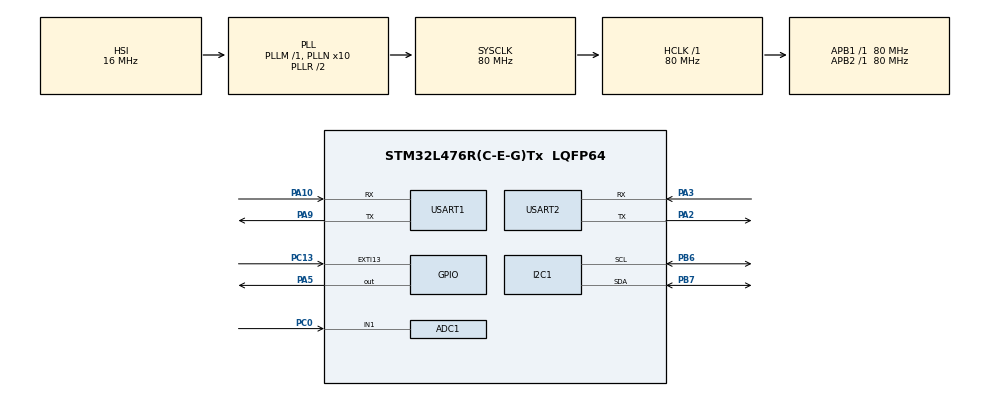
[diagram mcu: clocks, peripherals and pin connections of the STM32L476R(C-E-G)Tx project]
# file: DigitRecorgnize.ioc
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ADC1.Channel-0\#ChannelRegularConversion=ADC_CHANNEL_1
ADC1.ContinuousConvMode=ENABLE
ADC1.NbrOfConversionFlag=1
ADC1.OffsetNumber-0\#ChannelRegularConversion=ADC_OFFSET_NONE
ADC1.Rank-0\#ChannelRegularConversion=1
ADC1.SamplingTime-0\#ChannelRegularConversion=ADC_SAMPLETIME_2CYCLES_5
ADC1.master=1
Mcu.Family=STM32L4
Mcu.Name=STM32L476R(C-E-G)Tx
Mcu.Package=LQFP64
NVIC.I2C1_ER_IRQn=true\:0\:0\:false\:false\:true\:true
NVIC.I2C1_EV_IRQn=true\:0\:0\:false\:false\:true\:true
NVIC.PriorityGroup=NVIC_PRIORITYGROUP_4
NVIC.USART2_IRQn=true\:0\:0\:false\:false\:true\:true
PA10.Mode=Asynchronous
PA10.Signal=USART1_RX
PA13\ (JTMS-SWDIO).Mode=Serial_Wire
PA13\ (JTMS-SWDIO).Signal=SYS_JTMS-SWDIO
PA14\ (JTCK-SWCLK).Mode=Serial_Wire
PA14\ (JTCK-SWCLK).Signal=SYS_JTCK-SWCLK
PA2.GPIO_Mode=GPIO_MODE_AF_PP
PA2.GPIO_ModeDefaultPP=GPIO_MODE_AF_PP
PA2.GPIO_PuPd=GPIO_NOPULL
PA2.GPIO_Speed=GPIO_SPEED_FREQ_VERY_HIGH
PA2.Mode=Asynchronous
PA2.Signal=USART2_TX
PA3.GPIO_Mode=GPIO_MODE_AF_PP
PA3.GPIO_ModeDefaultPP=GPIO_MODE_AF_PP
PA3.GPIO_PuPd=GPIO_NOPULL
PA3.GPIO_Speed=GPIO_SPEED_FREQ_VERY_HIGH
PA3.Mode=Asynchronous
PA3.Signal=USART2_RX
PA5.GPIO_ModeDefaultOutputPP=GPIO_MODE_OUTPUT_PP
PA5.GPIO_PuPd=GPIO_NOPULL
PA5.GPIO_Speed=GPIO_SPEED_FREQ_LOW
PA5.PinState=GPIO_PIN_RESET
PA5.Signal=GPIO_Output
PA9.Mode=Asynchronous
PA9.Signal=USART1_TX
PB3\ (JTDO-TRACESWO).Signal=SYS_JTDO-SWO
PB6.Mode=I2C
PB6.Signal=I2C1_SCL
PB7.Mode=I2C
PB7.Signal=I2C1_SDA
PC0.Signal=ADCx_IN1
PC13.GPIO_ModeDefaultEXTI=GPIO_MODE_IT_RISING
PC13.GPIO_PuPd=GPIO_NOPULL
PC13.Signal=GPXTI13
PC14-OSC32_IN\ (PC14).Mode=LSE-External-Oscillator
PC14-OSC32_IN\ (PC14).Signal=RCC_OSC32_IN
PC15-OSC32_OUT\ (PC15).Mode=LSE-External-Oscillator
PC15-OSC32_OUT\ (PC15).Signal=RCC_OSC32_OUT
PH0-OSC_IN\ (PH0).Signal=RCC_OSC_IN
PH1-OSC_OUT\ (PH1).Signal=RCC_OSC_OUT
ProjectManager.HeapSize=0x200
ProjectManager.StackSize=0x400
ProjectManager.TargetToolchain=MDK-ARM V5
RCC.ADCFreq_Value=64000000
RCC.AHBFreq_Value=80000000
RCC.APB1Freq_Value=80000000
RCC.APB1TimFreq_Value=80000000
RCC.APB2Freq_Value=80000000
RCC.APB2TimFreq_Value=80000000
RCC.CortexFreq_Value=80000000
RCC.HCLKFreq_Value=80000000
RCC.HSE_VALUE=8000000
RCC.HSI_VALUE=16000000
RCC.MSI_VALUE=4000000
RCC.PLLN=10
RCC.PLLSourceVirtual=RCC_PLLSOURCE_HSI
RCC.PREFETCH_ENABLE=1
RCC.SYSCLKFreq_VALUE=80000000
RCC.SYSCLKSource=RCC_SYSCLKSOURCE_PLLCLK
RCC.USBFreq_Value=64000000
RCC.VCOOutputFreq_Value=160000000
SH.ADCx_IN1.0=ADC1_IN1,IN1-Single-Ended
USART1.VirtualMode-Asynchronous=VM_ASYNC
USART2.AutoBaudRateEnableParam=UART_ADVFEATURE_AUTOBAUDRATE_ENABLE
USART2.VirtualMode-Asynchronous=VM_ASYNC
VP_SYS_V_PVD_IN.Mode=Mode_PVD_Int
board=NUCLEO-L476RG

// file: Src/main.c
/* USER CODE BEGIN Header */
/**
  ******************************************************************************
  * @file           : main.c
  * @brief          : Main program body
  ******************************************************************************
  ** This notice applies to any and all portions of this file
  * that are not between comment pairs USER CODE BEGIN and
  * USER CODE END. Other portions of this file, whether
  * inserted by the user or by software development tools
  * are owned by their respective copyright owners.
  *
  * COPYRIGHT(c) 2019 STMicroelectronics
  *
  * Redistribution and use in source and binary forms, with or without modification,
  * are permitted provided that the following conditions are met:
  *   1. Redistributions of source code must retain the above copyright notice,
  *      this list of conditions and the following disclaimer.
  *   2. Redistributions in binary form must reproduce the above copyright notice,
  *      this list of conditions and the following disclaimer in the documentation
  *      and/or other materials provided with the distribution.
  *   3. Neither the name of STMicroelectronics nor the names of its contributors
  *      may be used to endorse or promote products derived from this software
  *      without specific prior written permission.
  *
  * THIS SOFTWARE IS PROVIDED BY THE COPYRIGHT HOLDERS AND CONTRIBUTORS "AS IS"
  * AND ANY EXPRESS OR IMPLIED WARRANTIES, INCLUDING, BUT NOT LIMITED TO, THE
  * IMPLIED WARRANTIES OF MERCHANTABILITY AND FITNESS FOR A PARTICULAR PURPOSE ARE
  * DISCLAIMED. IN NO EVENT SHALL THE COPYRIGHT HOLDER OR CONTRIBUTORS BE LIABLE
  * FOR ANY DIRECT, INDIRECT, INCIDENTAL, SPECIAL, EXEMPLARY, OR CONSEQUENTIAL
  * DAMAGES (INCLUDING, BUT NOT LIMITED TO, PROCUREMENT OF SUBSTITUTE GOODS OR
  * SERVICES; LOSS OF USE, DATA, OR PROFITS; OR BUSINESS INTERRUPTION) HOWEVER
  * CAUSED AND ON ANY THEORY OF LIABILITY, WHETHER IN CONTRACT, STRICT LIABILITY,
  * OR TORT (INCLUDING NEGLIGENCE OR OTHERWISE) ARISING IN ANY WAY OUT OF THE USE
  * OF THIS SOFTWARE, EVEN IF ADVISED OF THE POSSIBILITY OF SUCH DAMAGE.
  *
  ******************************************************************************
  */
/* USER CODE END Header */

#include "main.h"
#include "string.h"
#include "sd_hal_mpu6050.h"
/* USER CODE BEGIN Includes */
UART_HandleTypeDef huart1;

/* USER CODE END Includes */

ADC_HandleTypeDef hadc1;

I2C_HandleTypeDef hi2c1;

UART_HandleTypeDef huart1;
UART_HandleTypeDef huart2;

void SystemClock_Config(void);
static void MX_GPIO_Init(void);
static void MX_USART2_UART_Init(void);
static void MX_I2C1_Init(void);
static void MX_USART1_UART_Init(void);
static void MX_ADC1_Init(void);
#define MPU6050_I2C_ADDR			0xD0

/* Who I am register value */
#define MPU6050_I_AM				0x68
#define MPU6050_AUX_VDDIO			0x01
#define MPU6050_SMPLRT_DIV			0x19
#define MPU6050_CONFIG				0x1A
#define MPU6050_GYRO_CONFIG			0x1B
#define MPU6050_ACCEL_CONFIG		0x1C
#define MPU6050_MOTION_THRESH		0x1F
#define MPU6050_INT_PIN_CFG			0x37
#define MPU6050_INT_ENABLE			0x38
#define MPU6050_INT_STATUS			0x3A
#define MPU6050_ACCEL_XOUT_H		0x3B
#define MPU6050_ACCEL_XOUT_L		0x3C
#define MPU6050_ACCEL_YOUT_H		0x3D
#define MPU6050_ACCEL_YOUT_L		0x3E
#define MPU6050_ACCEL_ZOUT_H		0x3F
#define MPU6050_ACCEL_ZOUT_L		0x40
#define MPU6050_TEMP_OUT_H			0x41
#define MPU6050_TEMP_OUT_L			0x42
#define MPU6050_GYRO_XOUT_H			0x43
#define MPU6050_GYRO_XOUT_L			0x44
#define MPU6050_GYRO_YOUT_H			0x45
#define MPU6050_GYRO_YOUT_L			0x46
#define MPU6050_GYRO_ZOUT_H			0x47
#define MPU6050_GYRO_ZOUT_L			0x48
#define MPU6050_MOT_DETECT_STATUS	0x61
#define MPU6050_SIGNAL_PATH_RESET	0x68
#define MPU6050_MOT_DETECT_CTRL		0x69
#define MPU6050_USER_CTRL			0x6A
#define MPU6050_PWR_MGMT_1			0x6B
#define MPU6050_PWR_MGMT_2			0x6C
#define MPU6050_FIFO_COUNTH			0x72
#define MPU6050_FIFO_COUNTL			0x73
#define MPU6050_FIFO_R_W			0x74
#define MPU6050_WHO_AM_I			0x75

/* Gyro sensitivities in degrees/s */
#define MPU6050_GYRO_SENS_250		((float) 131)
#define MPU6050_GYRO_SENS_500		((float) 65.5)
#define MPU6050_GYRO_SENS_1000		((float) 32.8)
#define MPU6050_GYRO_SENS_2000		((float) 16.4)

/* Acce sensitivities in g/s */
#define MPU6050_ACCE_SENS_2			((float) 16384)
#define MPU6050_ACCE_SENS_4			((float) 8192)
#define MPU6050_ACCE_SENS_8			((float) 4096)
#define MPU6050_ACCE_SENS_16		((float) 2048)
/* Call MPU6050 */
SD_MPU6050 mpu1;
/* Kalman user define */
#define KAL_ERROR_ESTIMATED			((float) 9800)
#define KAL_ERROR_MEASUREMENT			((float) 9800)
#define KAL_NOISE_PROCESS			((float) 10)
/* USER CODE BEGIN 0 */
/*Kalman Filter function*/
/*Variables define*/
float temper;
float a_x,a_y,a_z,g_x,g_y,g_z,mea;
float kalman_gain,err_est,err_mea, current_estimate,last_estimate, proc_noise;
float err_est = KAL_ERROR_ESTIMATED; float err_mea = KAL_ERROR_MEASUREMENT; float proc_noise = KAL_NOISE_PROCESS;
/* Main function
 * mea - data read from sensor
 * err_est, err_mea, proc_noise is set by user, mN/s^2 */
float KalmanFilter(float mea)
	{
		kalman_gain = err_est/(err_est + err_mea) ;
		current_estimate = last_estimate + kalman_gain*(mea-last_estimate);
		err_est = (1.0-kalman_gain)*err_est + fabs(last_estimate-current_estimate)*proc_noise;
		last_estimate = current_estimate;
		return current_estimate;
	}
/* Define pointer for output data from Kalman Filter */
float kal_a_z, kal_a_x, kal_a_y, kal_g_x, kal_g_y, kal_g_z;
/* Get data from MPU6050, filter with kalman and send them to Pi*/
void IMU_data_processing()
{
		SD_MPU6050_Result result ;
		result = SD_MPU6050_Init(&hi2c1,&mpu1,SD_MPU6050_Device_0,SD_MPU6050_Accelerometer_2G,SD_MPU6050_Gyroscope_250s );
	  HAL_Delay(500);
		if(result == SD_MPU6050_Result_Ok)
	  {
		  HAL_UART_Transmit(&huart2,"\n mpu_ok \n",40,100);
	  }
	  else
	  {
		  HAL_UART_Transmit(&huart2,"\n mpu_not_ok \n",40,100);
	  }
	  HAL_Delay(500);
	  SD_MPU6050_ReadTemperature(&hi2c1,&mpu1);
	  temper = mpu1.Temperature;
	  SD_MPU6050_ReadGyroscope(&hi2c1,&mpu1);
	  g_x = mpu1.Gyroscope_X;
	  g_y = mpu1.Gyroscope_Y;
	  g_z = mpu1.Gyroscope_Z;
  /* USER CODE BEGIN 3 */
	  SD_MPU6050_ReadAccelerometer(&hi2c1,&mpu1);
	  a_x = mpu1.Accelerometer_X;
	  a_y = mpu1.Accelerometer_Y;
	  a_z = mpu1.Accelerometer_Z;
  /* USER CODE END WHILE */
		/*Use Kalman filter for accelerometer*/
		// mea = a_z;
		kal_a_z = KalmanFilter(mea = a_z);
		HAL_Delay(50);
		//kal_a_y = KalmanFilter(mea = a_y);
		//HAL_Delay(50);
		//kal_a_x = KalmanFilter(mea = a_x);
		//HAL_Delay(50);
		/* Send data to Raspberry Pi via UART 1*/
}
/* USER CODE END 0 */
int main(void)
{
  /* USER CODE BEGIN 1 */
	SD_MPU6050_Result result ;
  /* USER CODE END 1 */

  /* MCU Configuration--------------------------------------------------------*/

  /* Reset of all peripherals, Initializes the Flash interface and the Systick. */
  HAL_Init();

  /* Configure the system clock */
  SystemClock_Config();

  /* Initialize all configured peripherals */
  MX_GPIO_Init();
  MX_USART2_UART_Init();
  MX_I2C1_Init();
  MX_USART1_UART_Init();
  MX_ADC1_Init();
  /* USER CODE BEGIN 2 */
	//HAL_UART_Transmit(&huart2,"Starting transmit data...\n",28,100);
  /* USER CODE END 2 */
  /* Infinite loop */
while (1)
  {
    /* USER CODE BEGIN 3 */
		IMU_data_processing();

  /* USER CODE END 3 */
		}
}

/*
 * sd_hal_mpu6050.c
 *
 *  Created on: Feb 19, 2016
 *      Author: Sina Darvishi
 */

/**
 * |----------------------------------------------------------------------
 * | Copyright (C) Sina Darvishi,2016
 * |
 * | This program is free software: you can redistribute it and/or modify
 * | it under the terms of the GNU General Public License as published by
 * | the Free Software Foundation, either version 3 of the License, or
 * | any later version.
 * |
 * | This program is distributed in the hope that it will be useful,
 * | but WITHOUT ANY WARRANTY; without even the implied warranty of
 * | MERCHANTABILITY or FITNESS FOR A PARTICULAR PURPOSE.  See the
 * | GNU General Public License for more details.
 * |
 * | You should have received a copy of the GNU General Public License
 * | along with this program.  If not, see <http://www.gnu.org/licenses/>.
 * |----------------------------------------------------------------------
 */

#include "sd_hal_mpu6050.h"

SD_MPU6050_Result SD_MPU6050_Init(I2C_HandleTypeDef* I2Cx,SD_MPU6050* DataStruct, SD_MPU6050_Device DeviceNumber, SD_MPU6050_Accelerometer AccelerometerSensitivity, SD_MPU6050_Gyroscope GyroscopeSensitivity)
{
	uint8_t WHO_AM_I = (uint8_t)MPU6050_WHO_AM_I;
	uint8_t temp;
	I2C_HandleTypeDef* Handle = I2Cx;
	uint8_t d[2];

	/* Format I2C address */
	DataStruct->Address = MPU6050_I2C_ADDR | (uint8_t)DeviceNumber;
	uint8_t address = DataStruct->Address;

	/* Check if device is connected */
	if(HAL_I2C_IsDeviceReady(Handle,address,2,5)!=HAL_OK)
	{
				return SD_MPU6050_Result_Error;
	}
	/* Check who am I */
	//------------------
		/* Send address */
		if(HAL_I2C_Master_Transmit(Handle, address, &WHO_AM_I, 1, 1000) != HAL_OK)
		{
			return SD_MPU6050_Result_Error;
		}

		/* Receive multiple byte */
		if(HAL_I2C_Master_Receive(Handle, address, &temp, 1, 1000) != HAL_OK)
		{
			return SD_MPU6050_Result_Error;
		}

		/* Checking */
		while(temp != MPU6050_I_AM)
		{
				/* Return error */
				return SD_MPU6050_Result_DeviceInvalid;
		}
	//------------------

	/* Wakeup MPU6050 */
	//------------------
		/* Format array to send */
		d[0] = MPU6050_PWR_MGMT_1;
		d[1] = 0x00;

		/* Try to transmit via I2C */
		if(HAL_I2C_Master_Transmit(Handle,(uint16_t)address , (uint8_t *)d, 2, 1000) != HAL_OK)
		{
					return SD_MPU6050_Result_Error;
		}
	//------------------

	/* Set sample rate to 1kHz */
	SD_MPU6050_SetDataRate(I2Cx,DataStruct, SD_MPU6050_DataRate_1KHz);

	/* Config accelerometer */
	SD_MPU6050_SetAccelerometer(I2Cx,DataStruct, AccelerometerSensitivity);

	/* Config Gyroscope */
	SD_MPU6050_SetGyroscope(I2Cx,DataStruct, GyroscopeSensitivity);

	/* Return OK */
	return SD_MPU6050_Result_Ok;
}

SD_MPU6050_Result SD_MPU6050_SetDataRate(I2C_HandleTypeDef* I2Cx,SD_MPU6050* DataStruct, uint8_t rate)
{
	uint8_t d[2];
	I2C_HandleTypeDef* Handle = I2Cx;
	uint8_t address = DataStruct->Address;
	/* Format array to send */
	d[0] = MPU6050_SMPLRT_DIV;
	d[1] = rate;

	/* Set data sample rate */
	while(HAL_I2C_Master_Transmit(Handle,(uint16_t)address,(uint8_t *)d,2,1000)!=HAL_OK);
	/*{
				return SD_MPU6050_Result_Error;
	}*/

	/* Return OK */
	return SD_MPU6050_Result_Ok;
}

SD_MPU6050_Result SD_MPU6050_SetAccelerometer(I2C_HandleTypeDef* I2Cx,SD_MPU6050* DataStruct, SD_MPU6050_Accelerometer AccelerometerSensitivity)
{
	uint8_t temp;
	I2C_HandleTypeDef* Handle = I2Cx;
	uint8_t address = DataStruct->Address;
	uint8_t regAdd =(uint8_t )MPU6050_ACCEL_CONFIG;

	/* Config accelerometer */
	while(HAL_I2C_Master_Transmit(Handle, (uint16_t)address,&regAdd, 1, 1000) != HAL_OK);
	/*{
				return SD_MPU6050_Result_Error;
	}*/
	while(HAL_I2C_Master_Receive(Handle, (uint16_t)address, &temp, 1, 1000) != HAL_OK);
	/*{
				return SD_MPU6050_Result_Error;
	}*/
	temp = (temp & 0xE7) | (uint8_t)AccelerometerSensitivity << 3;
	while(HAL_I2C_Master_Transmit(Handle, (uint16_t)address,&temp, 1, 1000) != HAL_OK);
	/*{
				return SD_MPU6050_Result_Error;
	}*/

	/* Set sensitivities for multiplying gyro and accelerometer data */
	switch (AccelerometerSensitivity) {
		case SD_MPU6050_Accelerometer_2G:
			DataStruct->Acce_Mult = (float)1 / MPU6050_ACCE_SENS_2;
			break;
		case SD_MPU6050_Accelerometer_4G:
			DataStruct->Acce_Mult = (float)1 / MPU6050_ACCE_SENS_4;
			break;
		case SD_MPU6050_Accelerometer_8G:
			DataStruct->Acce_Mult = (float)1 / MPU6050_ACCE_SENS_8;
			break;
		case SD_MPU6050_Accelerometer_16G:
			DataStruct->Acce_Mult = (float)1 / MPU6050_ACCE_SENS_16;
			break;
		default:
			break;
		}

	/* Return OK */
	return SD_MPU6050_Result_Ok;
}

SD_MPU6050_Result SD_MPU6050_SetGyroscope(I2C_HandleTypeDef* I2Cx,SD_MPU6050* DataStruct, SD_MPU6050_Gyroscope GyroscopeSensitivity)
{
	uint8_t temp;
	I2C_HandleTypeDef* Handle = I2Cx;
	uint8_t address = DataStruct->Address;
	uint8_t regAdd =(uint8_t )MPU6050_GYRO_CONFIG;

	/* Config gyroscope */
	while(HAL_I2C_Master_Transmit(Handle, (uint16_t)address,&regAdd, 1, 1000) != HAL_OK);
	/*{
				return SD_MPU6050_Result_Error;
	}*/
	while(HAL_I2C_Master_Receive(Handle, (uint16_t)address, &temp, 1, 1000) != HAL_OK);
	/*{
				return SD_MPU6050_Result_Error;
	}*/
	temp = (temp & 0xE7) | (uint8_t)GyroscopeSensitivity << 3;
	while(HAL_I2C_Master_Transmit(Handle, (uint16_t)address,&temp, 1, 1000) != HAL_OK);
	/*{
				return SD_MPU6050_Result_Error;
	}*/

	switch (GyroscopeSensitivity) {
			case SD_MPU6050_Gyroscope_250s:
				DataStruct->Gyro_Mult = (float)1 / MPU6050_GYRO_SENS_250;
				break;
			case SD_MPU6050_Gyroscope_500s:
				DataStruct->Gyro_Mult = (float)1 / MPU6050_GYRO_SENS_500;
				break;
			case SD_MPU6050_Gyroscope_1000s:
				DataStruct->Gyro_Mult = (float)1 / MPU6050_GYRO_SENS_1000;
				break;
			case SD_MPU6050_Gyroscope_2000s:
				DataStruct->Gyro_Mult = (float)1 / MPU6050_GYRO_SENS_2000;
				break;
			default:
				break;
		}
	/* Return OK */
	return SD_MPU6050_Result_Ok;
}

SD_MPU6050_Result SD_MPU6050_ReadAccelerometer(I2C_HandleTypeDef* I2Cx,SD_MPU6050* DataStruct)
{
	uint8_t data[6];
	uint8_t reg = MPU6050_ACCEL_XOUT_H;
	I2C_HandleTypeDef* Handle = I2Cx;
	uint8_t address = DataStruct->Address;

	/* Read accelerometer data */
	while(HAL_I2C_Master_Transmit(Handle, (uint16_t)address, &reg, 1, 1000) != HAL_OK);

	while(HAL_I2C_Master_Receive(Handle, (uint16_t)address, data, 6, 1000) != HAL_OK);

	/* Format */
	DataStruct->Accelerometer_X = (int16_t)(data[0] << 8 | data[1]);
	DataStruct->Accelerometer_Y = (int16_t)(data[2] << 8 | data[3]);
	DataStruct->Accelerometer_Z = (int16_t)(data[4] << 8 | data[5]);

	/* Return OK */
	return SD_MPU6050_Result_Ok;
}
SD_MPU6050_Result SD_MPU6050_ReadGyroscope(I2C_HandleTypeDef* I2Cx,SD_MPU6050* DataStruct)
{
	uint8_t data[6];
	uint8_t reg = MPU6050_GYRO_XOUT_H;
	I2C_HandleTypeDef* Handle = I2Cx;
	uint8_t address = DataStruct->Address;

	/* Read gyroscope data */
	while(HAL_I2C_Master_Transmit(Handle, (uint16_t)address, &reg, 1, 1000) != HAL_OK);

	while(HAL_I2C_Master_Receive(Handle, (uint16_t)address, data, 6, 1000) != HAL_OK);

	/* Format */
	DataStruct->Gyroscope_X = (int16_t)(data[0] << 8 | data[1]);
	DataStruct->Gyroscope_Y = (int16_t)(data[2] << 8 | data[3]);
	DataStruct->Gyroscope_Z = (int16_t)(data[4] << 8 | data[5]);

	/* Return OK */
	return SD_MPU6050_Result_Ok;
}
SD_MPU6050_Result SD_MPU6050_ReadTemperature(I2C_HandleTypeDef* I2Cx,SD_MPU6050* DataStruct)
{
	uint8_t data[2];
	int16_t temp;
	uint8_t reg = MPU6050_TEMP_OUT_H;
	I2C_HandleTypeDef* Handle = I2Cx;
	uint8_t address = DataStruct->Address;

	/* Read temperature */
	while(HAL_I2C_Master_Transmit(Handle, (uint16_t)address, &reg, 1, 1000) != HAL_OK);

	while(HAL_I2C_Master_Receive(Handle, (uint16_t)address, data, 2, 1000) != HAL_OK);

	/* Format temperature */
	temp = (data[0] << 8 | data[1]);
	DataStruct->Temperature = (float)((int16_t)temp / (float)340.0 + (float)36.53);

	/* Return OK */
	return SD_MPU6050_Result_Ok;
}
SD_MPU6050_Result SD_MPU6050_ReadAll(I2C_HandleTypeDef* I2Cx,SD_MPU6050* DataStruct)
{
	uint8_t data[14];
	int16_t temp;
	uint8_t reg = MPU6050_ACCEL_XOUT_H;
	I2C_HandleTypeDef* Handle = I2Cx;
	uint8_t address = DataStruct->Address;

	/* Read full raw data, 14bytes */
	while(HAL_I2C_Master_Transmit(Handle, (uint16_t)address, &reg, 1, 1000) != HAL_OK);

	while(HAL_I2C_Master_Receive(Handle, (uint16_t)address, data, 14, 1000) != HAL_OK);

	/* Format accelerometer data */
	DataStruct->Accelerometer_X = (int16_t)(data[0] << 8 | data[1]);
	DataStruct->Accelerometer_Y = (int16_t)(data[2] << 8 | data[3]);
	DataStruct->Accelerometer_Z = (int16_t)(data[4] << 8 | data[5]);

	/* Format temperature */
	temp = (data[6] << 8 | data[7]);
	DataStruct->Temperature = (float)((float)((int16_t)temp) / (float)340.0 + (float)36.53);

	/* Format gyroscope data */
	DataStruct->Gyroscope_X = (int16_t)(data[8] << 8 | data[9]);
	DataStruct->Gyroscope_Y = (int16_t)(data[10] << 8 | data[11]);
	DataStruct->Gyroscope_Z = (int16_t)(data[12] << 8 | data[13]);
uint8_t coo=1;
		while(coo<15)
			{
			HAL_UART_Transmit(&huart2,&data[coo],60,100);
				coo++;
			}
	/* Return OK */
	return SD_MPU6050_Result_Ok;
}
SD_MPU6050_Result SD_MPU6050_EnableInterrupts(I2C_HandleTypeDef* I2Cx,SD_MPU6050* DataStruct)
{
	uint8_t temp;
	uint8_t reg[2] = {MPU6050_INT_ENABLE,0x21};
	I2C_HandleTypeDef* Handle = I2Cx;
	uint8_t address = DataStruct->Address;

	/* Enable interrupts for data ready and motion detect */
	while(HAL_I2C_Master_Transmit(Handle, (uint16_t)address, reg, 2, 1000) != HAL_OK);

	uint8_t mpu_reg= MPU6050_INT_PIN_CFG;
	/* Clear IRQ flag on any read operation */
	while(HAL_I2C_Master_Transmit(Handle, (uint16_t)address, &mpu_reg, 1, 1000) != HAL_OK);

	while(HAL_I2C_Master_Receive(Handle, (uint16_t)address, &temp, 14, 1000) != HAL_OK);
	temp |= 0x10;
	reg[0] = MPU6050_INT_PIN_CFG;
	reg[1] = temp;
	while(HAL_I2C_Master_Transmit(Handle, (uint16_t)address, reg, 2, 1000) != HAL_OK);

	/* Return OK */
	return SD_MPU6050_Result_Ok;
}
SD_MPU6050_Result SD_MPU6050_DisableInterrupts(I2C_HandleTypeDef* I2Cx,SD_MPU6050* DataStruct)
{
	uint8_t reg[2] = {MPU6050_INT_ENABLE,0x00};
	I2C_HandleTypeDef* Handle = I2Cx;
	uint8_t address = DataStruct->Address;

	/* Disable interrupts */
	while(HAL_I2C_Master_Transmit(Handle,(uint16_t)address,reg,2,1000)!=HAL_OK);
	/* Return OK */
	return SD_MPU6050_Result_Ok;
}
SD_MPU6050_Result SD_MPU6050_ReadInterrupts(I2C_HandleTypeDef* I2Cx,SD_MPU6050* DataStruct, SD_MPU6050_Interrupt* InterruptsStruct)
{
	uint8_t read;

	/* Reset structure */
	InterruptsStruct->Status = 0;
	uint8_t reg = MPU6050_INT_STATUS;
	I2C_HandleTypeDef* Handle = I2Cx;
	uint8_t address = DataStruct->Address;

	while(HAL_I2C_Master_Transmit(Handle, (uint16_t)address, &reg, 1, 1000) != HAL_OK);

	while(HAL_I2C_Master_Receive(Handle, (uint16_t)address, &read, 14, 1000) != HAL_OK);

	/* Fill value */
	InterruptsStruct->Status = read;
	/* Return OK */
	return SD_MPU6050_Result_Ok;
}

void SystemClock_Config(void)
{
  RCC_OscInitTypeDef RCC_OscInitStruct = {0};
  RCC_ClkInitTypeDef RCC_ClkInitStruct = {0};
  RCC_PeriphCLKInitTypeDef PeriphClkInit = {0};

  /**Initializes the CPU, AHB and APB busses clocks
  */
  RCC_OscInitStruct.OscillatorType = RCC_OSCILLATORTYPE_HSI;
  RCC_OscInitStruct.HSIState = RCC_HSI_ON;
  RCC_OscInitStruct.HSICalibrationValue = RCC_HSICALIBRATION_DEFAULT;
  RCC_OscInitStruct.PLL.PLLState = RCC_PLL_ON;
  RCC_OscInitStruct.PLL.PLLSource = RCC_PLLSOURCE_HSI;
  RCC_OscInitStruct.PLL.PLLM = 1;
  RCC_OscInitStruct.PLL.PLLN = 10;
  RCC_OscInitStruct.PLL.PLLP = RCC_PLLP_DIV7;
  RCC_OscInitStruct.PLL.PLLQ = RCC_PLLQ_DIV2;
  RCC_OscInitStruct.PLL.PLLR = RCC_PLLR_DIV2;
  if (HAL_RCC_OscConfig(&RCC_OscInitStruct) != HAL_OK)
  {
    Error_Handler();
  }
  /**Initializes the CPU, AHB and APB busses clocks
  */
  RCC_ClkInitStruct.ClockType = RCC_CLOCKTYPE_HCLK|RCC_CLOCKTYPE_SYSCLK
                              |RCC_CLOCKTYPE_PCLK1|RCC_CLOCKTYPE_PCLK2;
  RCC_ClkInitStruct.SYSCLKSource = RCC_SYSCLKSOURCE_PLLCLK;
  RCC_ClkInitStruct.AHBCLKDivider = RCC_SYSCLK_DIV1;
  RCC_ClkInitStruct.APB1CLKDivider = RCC_HCLK_DIV1;
  RCC_ClkInitStruct.APB2CLKDivider = RCC_HCLK_DIV1;

  if (HAL_RCC_ClockConfig(&RCC_ClkInitStruct, FLASH_LATENCY_4) != HAL_OK)
  {
    Error_Handler();
  }
  PeriphClkInit.PeriphClockSelection = RCC_PERIPHCLK_USART1|RCC_PERIPHCLK_USART2
                              |RCC_PERIPHCLK_I2C1|RCC_PERIPHCLK_ADC;
  PeriphClkInit.Usart1ClockSelection = RCC_USART1CLKSOURCE_PCLK2;
  PeriphClkInit.Usart2ClockSelection = RCC_USART2CLKSOURCE_PCLK1;
  PeriphClkInit.I2c1ClockSelection = RCC_I2C1CLKSOURCE_PCLK1;
  PeriphClkInit.AdcClockSelection = RCC_ADCCLKSOURCE_PLLSAI1;
  PeriphClkInit.PLLSAI1.PLLSAI1Source = RCC_PLLSOURCE_HSI;
  PeriphClkInit.PLLSAI1.PLLSAI1M = 1;
  PeriphClkInit.PLLSAI1.PLLSAI1N = 8;
  PeriphClkInit.PLLSAI1.PLLSAI1P = RCC_PLLP_DIV7;
  PeriphClkInit.PLLSAI1.PLLSAI1Q = RCC_PLLQ_DIV2;
  PeriphClkInit.PLLSAI1.PLLSAI1R = RCC_PLLR_DIV2;
  PeriphClkInit.PLLSAI1.PLLSAI1ClockOut = RCC_PLLSAI1_ADC1CLK;
  if (HAL_RCCEx_PeriphCLKConfig(&PeriphClkInit) != HAL_OK)
  {
    Error_Handler();
  }
  /**Configure the main internal regulator output voltage
  */
  if (HAL_PWREx_ControlVoltageScaling(PWR_REGULATOR_VOLTAGE_SCALE1) != HAL_OK)
  {
    Error_Handler();
  }
}

static void MX_ADC1_Init(void)
{

  ADC_MultiModeTypeDef multimode = {0};
  ADC_ChannelConfTypeDef sConfig = {0};

  /**Common config
  */
  hadc1.Instance = ADC1;
  hadc1.Init.ClockPrescaler = ADC_CLOCK_ASYNC_DIV1;
  hadc1.Init.Resolution = ADC_RESOLUTION_12B;
  hadc1.Init.DataAlign = ADC_DATAALIGN_RIGHT;
  hadc1.Init.ScanConvMode = ADC_SCAN_DISABLE;
  hadc1.Init.EOCSelection = ADC_EOC_SINGLE_CONV;
  hadc1.Init.LowPowerAutoWait = DISABLE;
  hadc1.Init.ContinuousConvMode = ENABLE;
  hadc1.Init.NbrOfConversion = 1;
  hadc1.Init.DiscontinuousConvMode = DISABLE;
  hadc1.Init.ExternalTrigConv = ADC_SOFTWARE_START;
  hadc1.Init.ExternalTrigConvEdge = ADC_EXTERNALTRIGCONVEDGE_NONE;
  hadc1.Init.DMAContinuousRequests = DISABLE;
  hadc1.Init.Overrun = ADC_OVR_DATA_PRESERVED;
  hadc1.Init.OversamplingMode = DISABLE;
  if (HAL_ADC_Init(&hadc1) != HAL_OK)
  {
    Error_Handler();
  }
  /**Configure the ADC multi-mode
  */
  multimode.Mode = ADC_MODE_INDEPENDENT;
  if (HAL_ADCEx_MultiModeConfigChannel(&hadc1, &multimode) != HAL_OK)
  {
    Error_Handler();
  }
  /**Configure Regular Channel
  */
  sConfig.Channel = ADC_CHANNEL_1;
  sConfig.Rank = ADC_REGULAR_RANK_1;
  sConfig.SamplingTime = ADC_SAMPLETIME_2CYCLES_5;
  sConfig.SingleDiff = ADC_SINGLE_ENDED;
  sConfig.OffsetNumber = ADC_OFFSET_NONE;
  sConfig.Offset = 0;
  if (HAL_ADC_ConfigChannel(&hadc1, &sConfig) != HAL_OK)
  {
    Error_Handler();
  }

}

static void MX_I2C1_Init(void)
{

  hi2c1.Instance = I2C1;
  hi2c1.Init.Timing = 0x10909CEC;
  hi2c1.Init.OwnAddress1 = 0;
  hi2c1.Init.AddressingMode = I2C_ADDRESSINGMODE_7BIT;
  hi2c1.Init.DualAddressMode = I2C_DUALADDRESS_DISABLE;
  hi2c1.Init.OwnAddress2 = 0;
  hi2c1.Init.OwnAddress2Masks = I2C_OA2_NOMASK;
  hi2c1.Init.GeneralCallMode = I2C_GENERALCALL_DISABLE;
  hi2c1.Init.NoStretchMode = I2C_NOSTRETCH_DISABLE;
  if (HAL_I2C_Init(&hi2c1) != HAL_OK)
  {
    Error_Handler();
  }
  /**Configure Analogue filter
  */
  if (HAL_I2CEx_ConfigAnalogFilter(&hi2c1, I2C_ANALOGFILTER_ENABLE) != HAL_OK)
  {
    Error_Handler();
  }
  /**Configure Digital filter
  */
  if (HAL_I2CEx_ConfigDigitalFilter(&hi2c1, 0) != HAL_OK)
  {
    Error_Handler();
  }

}

static void MX_USART1_UART_Init(void)
{

  huart1.Instance = USART1;
  huart1.Init.BaudRate = 115200;
  huart1.Init.WordLength = UART_WORDLENGTH_8B;
  huart1.Init.StopBits = UART_STOPBITS_1;
  huart1.Init.Parity = UART_PARITY_NONE;
  huart1.Init.Mode = UART_MODE_TX_RX;
  huart1.Init.HwFlowCtl = UART_HWCONTROL_NONE;
  huart1.Init.OverSampling = UART_OVERSAMPLING_16;
  huart1.Init.OneBitSampling = UART_ONE_BIT_SAMPLE_DISABLE;
  huart1.AdvancedInit.AdvFeatureInit = UART_ADVFEATURE_NO_INIT;
  if (HAL_UART_Init(&huart1) != HAL_OK)
  {
    Error_Handler();
  }

}

static void MX_USART2_UART_Init(void)
{

  huart2.Instance = USART2;
  huart2.Init.BaudRate = 115200;
  huart2.Init.WordLength = UART_WORDLENGTH_8B;
  huart2.Init.StopBits = UART_STOPBITS_1;
  huart2.Init.Parity = UART_PARITY_NONE;
  huart2.Init.Mode = UART_MODE_TX_RX;
  huart2.Init.HwFlowCtl = UART_HWCONTROL_NONE;
  huart2.Init.OverSampling = UART_OVERSAMPLING_16;
  huart2.Init.OneBitSampling = UART_ONE_BIT_SAMPLE_DISABLE;
  huart2.AdvancedInit.AdvFeatureInit = UART_ADVFEATURE_AUTOBAUDRATE_INIT;
  huart2.AdvancedInit.AutoBaudRateEnable = UART_ADVFEATURE_AUTOBAUDRATE_ENABLE;
  huart2.AdvancedInit.AutoBaudRateMode = UART_ADVFEATURE_AUTOBAUDRATE_ONSTARTBIT;
  if (HAL_UART_Init(&huart2) != HAL_OK)
  {
    Error_Handler();
  }

}

static void MX_GPIO_Init(void)
{
  GPIO_InitTypeDef GPIO_InitStruct = {0};

  /* GPIO Ports Clock Enable */
  __HAL_RCC_GPIOC_CLK_ENABLE();
  __HAL_RCC_GPIOH_CLK_ENABLE();
  __HAL_RCC_GPIOA_CLK_ENABLE();
  __HAL_RCC_GPIOB_CLK_ENABLE();

  /*Configure GPIO pin Output Level */
  HAL_GPIO_WritePin(GPIOA, GPIO_PIN_5, GPIO_PIN_RESET);

  /*Configure GPIO pin : PC13 */
  GPIO_InitStruct.Pin = GPIO_PIN_13;
  GPIO_InitStruct.Mode = GPIO_MODE_IT_RISING;
  GPIO_InitStruct.Pull = GPIO_NOPULL;
  HAL_GPIO_Init(GPIOC, &GPIO_InitStruct);

  /*Configure GPIO pin : PA5 */
  GPIO_InitStruct.Pin = GPIO_PIN_5;
  GPIO_InitStruct.Mode = GPIO_MODE_OUTPUT_PP;
  GPIO_InitStruct.Pull = GPIO_NOPULL;
  GPIO_InitStruct.Speed = GPIO_SPEED_FREQ_LOW;
  HAL_GPIO_Init(GPIOA, &GPIO_InitStruct);

}

void Error_Handler(void)
{
}

/************************ (C) COPYRIGHT STMicroelectronics *****END OF FILE****/
